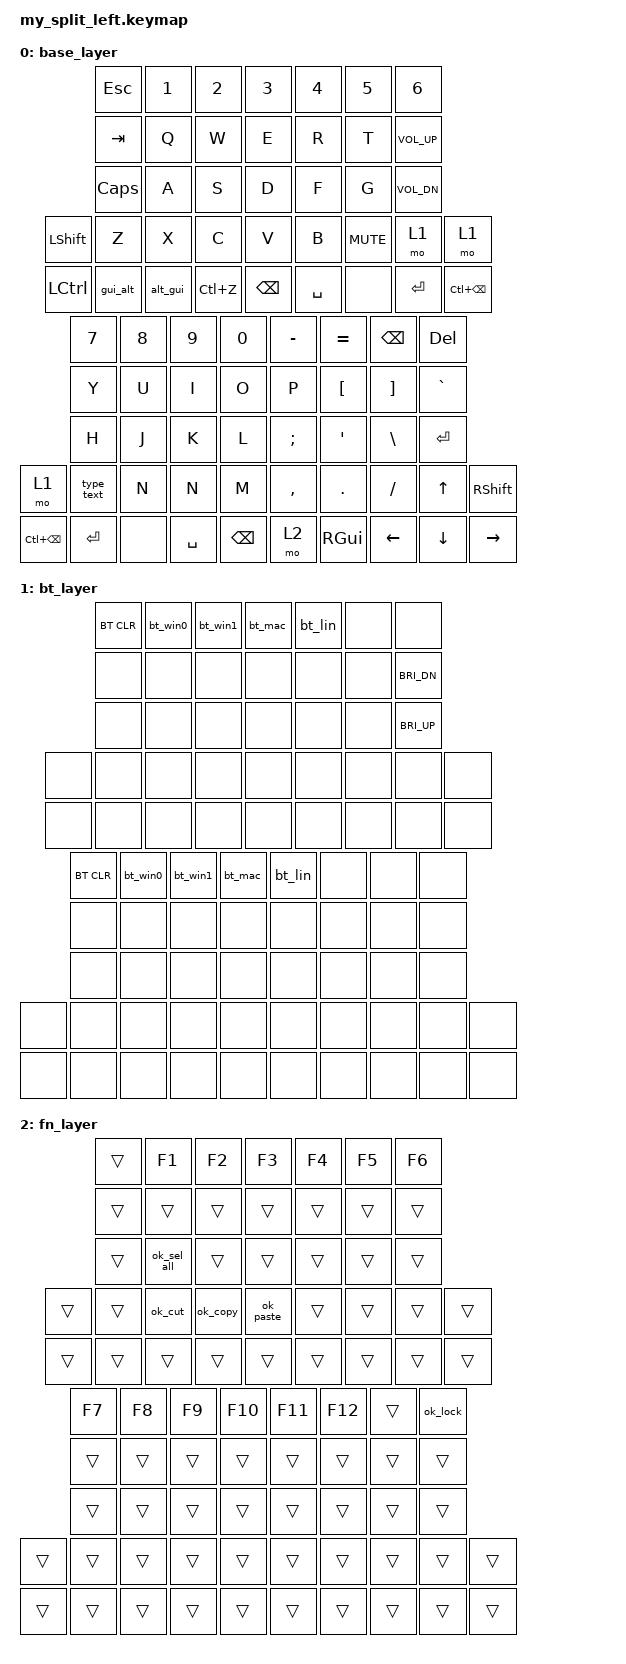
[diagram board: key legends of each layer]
#include <behaviors.dtsi>
#include <dt-bindings/zmk/keys.h>
#include <dt-bindings/zmk/bt.h>
#include <dt-bindings/zmk/outputs.h>

/* OS-aware behaviors from the mentaldesk/oskey module.
 * oskey.h provides OS_WIN / OS_MAC / OS_LIN.
 * oskey.dtsi predefines &os_sel plus ready-made OS keys used below:
 *   &ok_copy &ok_paste &ok_cut &ok_sel_all &ok_lock  (Win / Mac / Linux). */
#include <dt-bindings/zmk/oskey.h>
#include <behaviors/oskey.dtsi>

/ {
    behaviors {
        /* On macOS the left Command and left Option keys are swapped relative to
         * their physical labels; on Windows/Linux they keep their normal meaning.
         *           Win        Mac        Lin   */
        gui_alt: gui_alt {            /* the "Command" position */
            compatible = "zmk,behavior-os-key";
            #binding-cells = <0>;
            bindings = <&kp LGUI>, <&kp LALT>, <&kp LGUI>;
        };
        alt_gui: alt_gui {            /* the "Option" position */
            compatible = "zmk,behavior-os-key";
            #binding-cells = <0>;
            bindings = <&kp LALT>, <&kp LGUI>, <&kp LALT>;
        };
    };

    macros {
        /* Each macro selects a Bluetooth profile AND sets the matching OS in a
         * single keypress, so choosing a device also sets its OS automatically.
         * Profile map: 0,1 = Windows, 2 = macOS, 3 = Linux. */
        bt_win0: bt_win0 {
            compatible = "zmk,behavior-macro";
            #binding-cells = <0>;
            bindings = <&bt BT_SEL 0 &os_sel OS_WIN>;
        };
        bt_win1: bt_win1 {
            compatible = "zmk,behavior-macro";
            #binding-cells = <0>;
            bindings = <&bt BT_SEL 1 &os_sel OS_WIN>;
        };
        bt_mac: bt_mac {
            compatible = "zmk,behavior-macro";
            #binding-cells = <0>;
            bindings = <&bt BT_SEL 2 &os_sel OS_MAC>;
        };
        bt_lin: bt_lin {
            compatible = "zmk,behavior-macro";
            #binding-cells = <0>;
            bindings = <&bt BT_SEL 3 &os_sel OS_LIN>;
        };

        type_text: type_text {
            compatible = "zmk,behavior-macro";
            #binding-cells = <0>;
            bindings =
                /* "This text is typed using the new KeyBoard ^^" */
                <&kp LS(N9) &kp LS(T) &kp H &kp I &kp S &kp SPACE
                 &kp T &kp E &kp X &kp T &kp SPACE
                 &kp I &kp S &kp SPACE
                 &kp T &kp Y &kp P &kp E &kp D &kp SPACE
                 &kp U &kp S &kp I &kp N &kp G &kp SPACE
                 &kp T &kp H &kp E &kp SPACE
                 &kp N &kp E &kp W &kp SPACE
                 &kp LS(K) &kp E &kp Y &kp LS(B) &kp O &kp A &kp R &kp D &kp SPACE
                 &kp CARET &kp CARET &kp LS(N0)>;
        };
    };

    keymap {
        compatible = "zmk,keymap";

        base_layer {
            bindings = <
                /* ── LEFT SIDE (39 keys, positions 0-38) ─────────────────────────────────── */
                /* Row 0 */ &kp ESC   &kp N1    &kp N2    &kp N3    &kp N4    &kp N5    &kp N6
                /* Row 1 */ &kp TAB   &kp Q     &kp W     &kp E     &kp R     &kp T     &kp C_VOL_UP
                /* Row 2 */ &kp CAPS  &kp A     &kp S     &kp D     &kp F     &kp G     &kp C_VOL_DN
                /* Row 3 */ &kp LSHFT &kp Z     &kp X     &kp C     &kp V     &kp B     &kp C_MUTE   &mo 1     &mo 1
                /* Row 4 */ &kp LCTRL &gui_alt  &alt_gui  &kp LC(Z) &kp BSPC  &kp SPACE &none        &kp ENTER &kp LC(BSPC)

                /* ── RIGHT SIDE (44 keys, positions 39-82, auto-offset by BLE split) ─────── */
                /* Row 0 */                        &kp N7    &kp N8    &kp N9    &kp N0    &kp MINUS &kp EQUAL &kp BSPC  &kp DEL
                /* Row 1 */                        &kp Y     &kp U     &kp I     &kp O     &kp P     &kp LBKT  &kp RBKT  &kp GRAVE
                /* Row 2 */                        &kp H     &kp J     &kp K     &kp L     &kp SEMI  &kp SQT   &kp BSLH  &kp ENTER
                /* Row 3 */ &mo 1        &type_text &kp N     &kp N     &kp M     &kp COMMA &kp DOT   &kp FSLH  &kp UP    &kp RSHFT
                /* Row 4 */ &kp LC(BSPC) &kp ENTER &none    &kp SPACE &kp BSPC   &mo 2    &kp RGUI  &kp LEFT  &kp DOWN  &kp RIGHT
            >;
        };

        bt_layer {
            bindings = <
                /* ── LEFT SIDE ───────────────────────────────────────────────────────────── */
                /* Row 0 */ &bt BT_CLR &bt_win0     &bt_win1     &bt_mac      &bt_lin      &none &none
                /* Row 1 */ &none      &none        &none        &none        &none        &none &kp C_BRI_DN
                /* Row 2 */ &none      &none        &none        &none        &none        &none &kp C_BRI_UP
                /* Row 3 */ &none      &none        &none        &none        &none        &none &none &none &none
                /* Row 4 */ &none      &none        &none        &none        &none        &none &none &none &none

                /* ── RIGHT SIDE ─────────────────────────────────────────────────────────── */
                /* Row 0 */                &bt BT_CLR &bt_win0     &bt_win1     &bt_mac      &bt_lin      &none &none &none
                /* Row 1 */                &none      &none        &none        &none        &none        &none &none &none
                /* Row 2 */                &none      &none        &none        &none        &none        &none &none &none
                /* Row 3 */ &none  &none   &none      &none        &none        &none        &none        &none &none &none
                /* Row 4 */ &none  &none   &none      &none        &none        &none        &none        &none &none &none
            >;
        };

        fn_layer {
            bindings = <
                /* ── LEFT SIDE ───────────────────────────────────────────────────────────── */
                /* Row 0 */ &trans    &kp F1    &kp F2    &kp F3    &kp F4    &kp F5    &kp F6
                /* Row 1 */ &trans    &trans    &trans    &trans    &trans    &trans    &trans
                /* Row 2 (A = select-all)               */ &trans  &ok_sel_all &trans &trans &trans &trans &trans
                /* Row 3 (X = cut, C = copy, V = paste) */ &trans  &trans  &ok_cut   &ok_copy  &ok_paste &trans &trans &trans &trans
                /* Row 4 */ &trans    &trans    &trans    &trans    &trans    &trans    &trans    &trans    &trans

                /* ── RIGHT SIDE ─────────────────────────────────────────────────────────── */
                /* Row 0 */                        &kp F7    &kp F8    &kp F9    &kp F10   &kp F11   &kp F12   &trans    &ok_lock
                /* Row 1 */                        &trans    &trans    &trans    &trans    &trans    &trans    &trans    &trans
                /* Row 2 */                        &trans    &trans    &trans    &trans    &trans    &trans    &trans    &trans
                /* Row 3 */ &trans       &trans    &trans    &trans    &trans    &trans    &trans    &trans    &trans    &trans
                /* Row 4 */ &trans       &trans    &trans    &trans    &trans    &trans    &trans    &trans    &trans    &trans
            >;
        };
    };
};  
